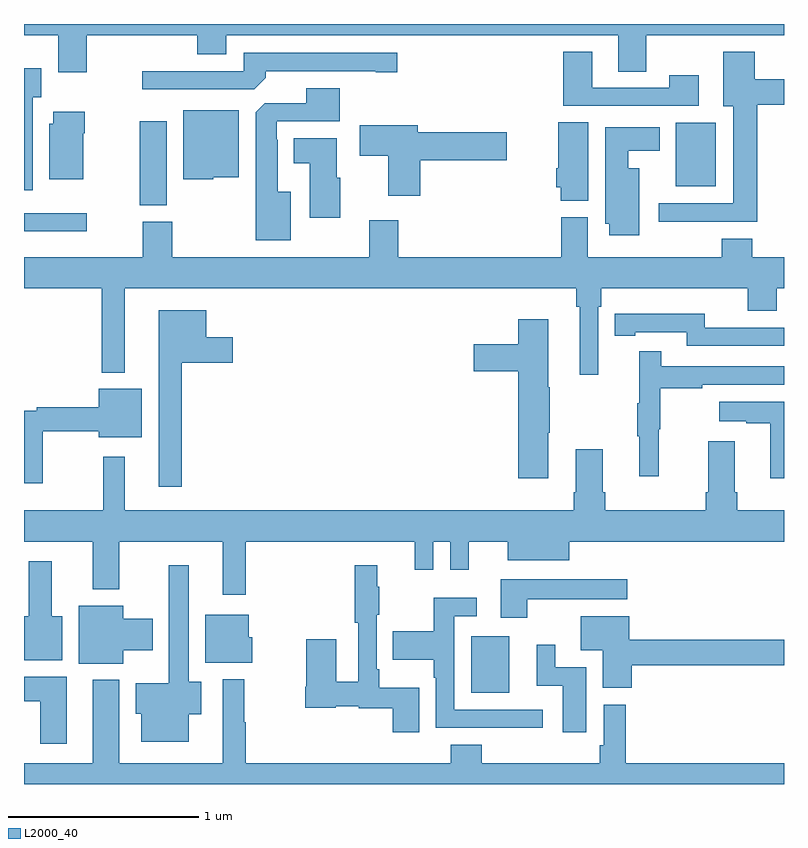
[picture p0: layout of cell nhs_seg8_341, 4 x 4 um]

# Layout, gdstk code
import gdstk
lib = gdstk.Library(unit=1e-6, precision=1e-09)
def R(c, l, rs):  # rectangles x0, y0, x1, y1
    for r in rs: c.add(gdstk.rectangle(r[:2], r[2:], *l))
def P(c, l, *ps):  # polygons
    for p in ps: c.add(gdstk.Polygon(p, *l))
L2000_40 = (2000, 40)

nhs_seg8_341 = lib.new_cell('nhs_seg8_341')
R(nhs_seg8_341, L2000_40, [(135.353,1106.381,135.553,1106.677), (133,1108.808,133.33,1108.905), (133.609,1108.945,133.75,1109.389), (136.43,1109.045,136.642,1109.38)])
P(nhs_seg8_341, L2000_40, [(133,1109.84),(133.181,1109.84),(133.181,1109.646),(133.329,1109.646),(133.329,1109.84),(133.913,1109.84),(133.913,1109.741),(134.065,1109.741),(134.065,1109.84),(136.127,1109.84),(136.127,1109.65),(136.275,1109.65),(136.275,1109.84),(137,1109.84),(137,1109.9),(133,1109.9)],
  [(136.859,1109.474),(137,1109.474),(137,1109.608),(136.846,1109.608),(136.846,1109.755),(136.679,1109.755),(136.679,1109.468),(136.733,1109.468),(136.733,1108.956),(136.341,1108.956),(136.341,1108.859),(136.859,1108.859)],
  [(136.552,1109.629),(136.396,1109.629),(136.396,1109.565),(135.991,1109.565),(135.991,1109.755),(135.839,1109.755),(135.839,1109.469),(136.552,1109.469)],
  [(134.273,1109.618),(134.273,1109.652),(134.852,1109.652),(134.852,1109.647),(134.965,1109.647),(134.965,1109.748),(134.157,1109.748),(134.157,1109.652),(133.623,1109.652),(133.623,1109.556),(134.211,1109.556)],
  [(133.045,1109.514),(133.09,1109.514),(133.09,1109.668),(133,1109.668),(133,1109.025),(133.045,1109.025)],
  [(134.404,1109.017),(134.335,1109.017),(134.335,1109.291),(134.331,1109.291),(134.331,1109.388),(134.662,1109.388),(134.662,1109.563),(134.486,1109.563),(134.486,1109.484),(134.268,1109.484),(134.219,1109.435),(134.219,1108.763),(134.404,1108.763)],
  [(133.995,1109.093),(134.131,1109.093),(134.131,1109.446),(133.838,1109.446),(133.838,1109.084),(133.995,1109.084)],
  [(133.312,1109.324),(133.32,1109.324),(133.32,1109.437),(133.154,1109.437),(133.154,1109.376),(133.133,1109.376),(133.133,1109.084),(133.312,1109.084)],
  [(135.97,1109.384),(135.812,1109.384),(135.812,1109.14),(135.8,1109.14),(135.8,1109.04),(135.824,1109.04),(135.824,1108.969),(135.97,1108.969)],
  [(135.086,1109.183),(135.541,1109.183),(135.541,1109.33),(135.073,1109.33),(135.073,1109.368),(134.766,1109.368),(134.766,1109.206),(134.918,1109.206),(134.918,1108.995),(135.086,1108.995)],
  [(136.237,1109.14),(136.18,1109.14),(136.18,1109.234),(136.345,1109.234),(136.345,1109.356),(136.058,1109.356),(136.058,1108.848),(136.079,1108.848),(136.079,1108.788),(136.237,1108.788)],
  [(134.665,1109.091),(134.647,1109.091),(134.647,1109.299),(134.42,1109.299),(134.42,1109.168),(134.504,1109.168),(134.504,1108.881),(134.665,1108.881)],
  [(136.672,1108.771),(136.672,1108.672),(135.967,1108.672),(135.967,1108.884),(135.827,1108.884),(135.827,1108.672),(134.969,1108.672),(134.969,1108.867),(134.816,1108.867),(134.816,1108.672),(133.779,1108.672),(133.779,1108.86),(133.624,1108.86),(133.624,1108.672),(133,1108.672),(133,1108.508),(133.41,1108.508),(133.41,1108.064),(133.531,1108.064),(133.531,1108.508),(135.907,1108.508),(135.907,1108.412),(135.926,1108.412),(135.926,1108.053),(136.023,1108.053),(136.023,1108.412),(136.037,1108.412),(136.037,1108.508),(136.808,1108.508),(136.808,1108.391),(136.961,1108.391),(136.961,1108.508),(137,1108.508),(137,1108.672),(136.832,1108.672),(136.832,1108.771)],
  [(133.831,1108.118),(134.098,1108.118),(134.098,1108.252),(133.96,1108.252),(133.96,1108.393),(133.709,1108.393),(133.709,1107.465),(133.831,1107.465)],
  [(137,1108.302),(136.584,1108.302),(136.584,1108.375),(136.216,1108.375),(136.216,1108.374),(136.108,1108.374),(136.108,1108.258),(136.216,1108.258),(136.216,1108.278),(136.488,1108.278),(136.488,1108.206),(137,1108.206)],
  [(135.76,1107.748),(135.768,1107.748),(135.768,1107.989),(135.76,1107.989),(135.76,1108.345),(135.602,1108.345),(135.602,1108.215),(135.366,1108.215),(135.366,1108.073),(135.602,1108.073),(135.602,1107.51),(135.76,1107.51)],
  [(136.34,1107.768),(136.348,1107.768),(136.348,1107.982),(136.571,1107.982),(136.571,1108.002),(137,1108.002),(137,1108.098),(136.355,1108.098),(136.355,1108.177),(136.238,1108.177),(136.238,1107.905),(136.227,1107.905),(136.227,1107.731),(136.238,1107.731),(136.238,1107.519),(136.34,1107.519)],
  [(133.098,1107.756),(133.394,1107.756),(133.394,1107.725),(133.621,1107.725),(133.621,1107.979),(133.394,1107.979),(133.394,1107.884),(133.066,1107.884),(133.066,1107.864),(133,1107.864),(133,1107.483),(133.098,1107.483)],
  [(137,1107.913),(136.659,1107.913),(136.659,1107.809),(136.802,1107.809),(136.802,1107.799),(136.928,1107.799),(136.928,1107.51),(137,1107.51)],
  [(134.167,1107.176),(135.056,1107.176),(135.056,1107.027),(135.153,1107.027),(135.153,1107.176),(135.243,1107.176),(135.243,1107.027),(135.341,1107.027),(135.341,1107.176),(135.545,1107.176),(135.545,1107.077),(135.871,1107.077),(135.871,1107.176),(137,1107.176),(137,1107.34),(136.754,1107.34),(136.754,1107.436),(136.741,1107.436),(136.741,1107.703),(136.601,1107.703),(136.601,1107.436),(136.589,1107.436),(136.589,1107.34),(136.058,1107.34),(136.058,1107.436),(136.045,1107.436),(136.045,1107.661),(135.905,1107.661),(135.905,1107.436),(135.893,1107.436),(135.893,1107.34),(133.531,1107.34),(133.531,1107.622),(133.417,1107.622),(133.417,1107.34),(133,1107.34),(133,1107.176),(133.361,1107.176),(133.361,1106.924),(133.501,1106.924),(133.501,1107.176),(134.045,1107.176),(134.045,1106.895),(134.167,1106.895)],
  [(133.201,1106.782),(133.147,1106.782),(133.147,1107.073),(133.025,1107.073),(133.025,1106.782),(133,1106.782),(133,1106.552),(133.201,1106.552)],
  [(133.867,1106.267),(133.933,1106.267),(133.933,1106.438),(133.867,1106.438),(133.867,1107.052),(133.763,1107.052),(133.763,1106.431),(133.589,1106.431),(133.589,1106.271),(133.616,1106.271),(133.616,1106.123),(133.867,1106.123)],
  [(135.079,1106.407),(134.869,1106.407),(134.869,1106.503),(134.856,1106.503),(134.856,1106.791),(134.869,1106.791),(134.869,1106.939),(134.858,1106.939),(134.858,1107.052),(134.74,1107.052),(134.74,1106.749),(134.76,1106.749),(134.76,1106.438),(134.644,1106.438),(134.644,1106.662),(134.486,1106.662),(134.486,1106.413),(134.479,1106.413),(134.479,1106.302),(134.64,1106.302),(134.64,1106.31),(134.763,1106.31),(134.763,1106.298),(134.941,1106.298),(134.941,1106.172),(135.079,1106.172)],
  [(135.649,1106.873),(136.174,1106.873),(136.174,1106.977),(135.509,1106.977),(135.509,1106.775),(135.649,1106.775)],
  [(135.73,1106.292),(135.264,1106.292),(135.264,1106.784),(135.382,1106.784),(135.382,1106.881),(135.156,1106.881),(135.156,1106.703),(134.941,1106.703),(134.941,1106.555),(135.156,1106.555),(135.156,1106.459),(135.168,1106.459),(135.168,1106.196),(135.493,1106.196),(135.493,1106.195),(135.73,1106.195)],
  [(133.522,1106.603),(133.678,1106.603),(133.678,1106.769),(133.522,1106.769),(133.522,1106.839),(133.289,1106.839),(133.289,1106.534),(133.522,1106.534)],
  [(134.2,1106.673),(134.182,1106.673),(134.182,1106.791),(133.955,1106.791),(133.955,1106.537),(134.2,1106.537)],
  [(136.199,1106.524),(137,1106.524),(137,1106.66),(136.186,1106.66),(136.186,1106.782),(135.929,1106.782),(135.929,1106.603),(136.046,1106.603),(136.046,1106.406),(136.199,1106.406)],
  [(135.958,1106.514),(135.796,1106.514),(135.796,1106.632),(135.698,1106.632),(135.698,1106.418),(135.836,1106.418),(135.836,1106.172),(135.958,1106.172)],
  [(133.225,1106.464),(133,1106.464),(133,1106.336),(133.085,1106.336),(133.085,1106.112),(133.225,1106.112)],
  [(134.167,1106.225),(134.159,1106.225),(134.159,1106.452),(134.045,1106.452),(134.045,1106.008),(133.501,1106.008),(133.501,1106.449),(133.361,1106.449),(133.361,1106.008),(133,1106.008),(133,1105.9),(137,1105.9),(137,1106.008),(136.166,1106.008),(136.166,1106.317),(136.05,1106.317),(136.05,1106.104),(136.03,1106.104),(136.03,1106.008),(135.41,1106.008),(135.41,1106.107),(135.245,1106.107),(135.245,1106.008),(134.167,1106.008)])

lib.write_gds('nhs_seg8_341.gds')
